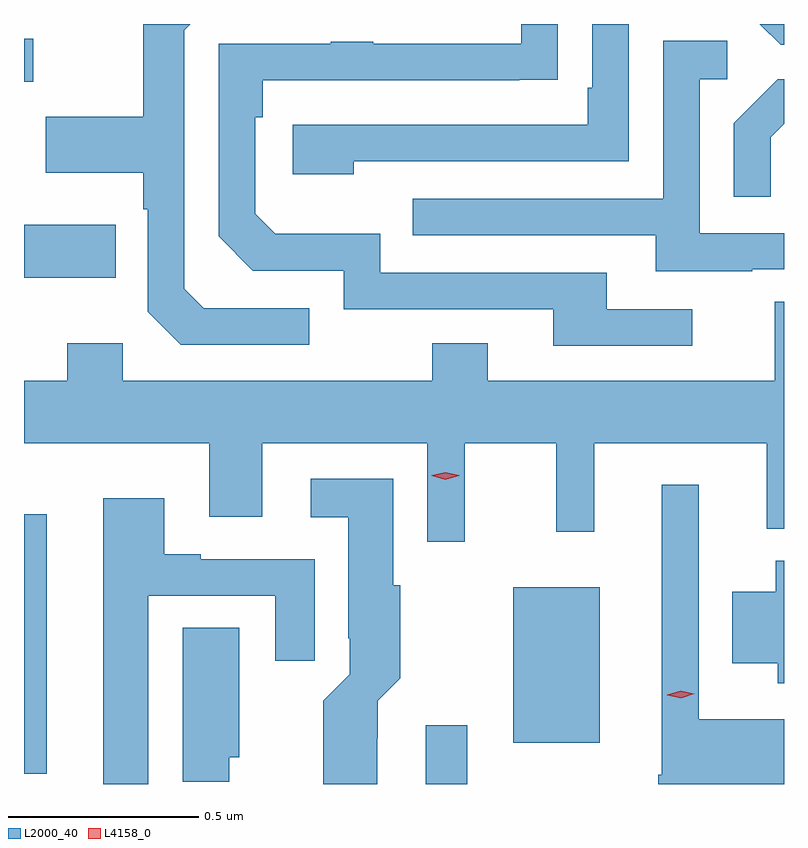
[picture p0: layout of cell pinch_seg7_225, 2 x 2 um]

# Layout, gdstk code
import gdstk
lib = gdstk.Library(unit=1e-6, precision=1e-09)
def R(c, l, rs):  # rectangles x0, y0, x1, y1
    for r in rs: c.add(gdstk.rectangle(r[:2], r[2:], *l))
def P(c, l, *ps):  # polygons
    for p in ps: c.add(gdstk.Polygon(p, *l))
L2000_40 = (2000, 40)
L4158_0 = (4158, 0)

pinch_seg7_225 = lib.new_cell('pinch_seg7_225')
R(pinch_seg7_225, L2000_40, [(683.927,1002.383,684.037,1002.538), (682.87,1002.41,682.93,1003.093), (684.158,1002.491,684.385,1002.901), (682.87,1003.715,683.111,1003.855), (682.87,1004.231,682.894,1004.344)])
P(pinch_seg7_225, L2000_40, [(684.628,1003.632),(684.403,1003.632),(684.403,1003.728),(683.808,1003.728),(683.808,1003.831),(683.531,1003.831),(683.478,1003.884),(683.478,1004.138),(683.498,1004.138),(683.498,1004.235),(684.173,1004.235),(684.173,1004.236),(684.275,1004.236),(684.275,1004.383),(684.179,1004.383),(684.179,1004.331),(683.789,1004.331),(683.789,1004.336),(683.677,1004.336),(683.677,1004.331),(683.382,1004.331),(683.382,1003.824),(683.472,1003.734),(683.712,1003.734),(683.712,1003.632),(684.263,1003.632),(684.263,1003.536),(684.628,1003.536)],
  [(683.738,1004.022),(684.462,1004.022),(684.462,1004.383),(684.366,1004.383),(684.366,1004.215),(684.353,1004.215),(684.353,1004.118),(683.577,1004.118),(683.577,1003.988),(683.738,1003.988)],
  [(684.87,1004.383),(684.806,1004.383),(684.861,1004.328),(684.87,1004.328)],
  [(683.62,1003.635),(683.343,1003.635),(683.292,1003.686),(683.292,1004.367),(683.308,1004.383),(683.184,1004.383),(683.184,1004.139),(682.927,1004.139),(682.927,1003.991),(683.184,1003.991),(683.184,1003.895),(683.196,1003.895),(683.196,1003.626),(683.283,1003.539),(683.62,1003.539)],
  [(684.787,1003.737),(684.87,1003.737),(684.87,1003.833),(684.648,1003.833),(684.648,1004.238),(684.721,1004.238),(684.721,1004.339),(684.552,1004.339),(684.552,1003.923),(683.893,1003.923),(683.893,1003.827),(684.533,1003.827),(684.533,1003.733),(684.787,1003.733)],
  [(684.835,1004.085),(684.87,1004.12),(684.87,1004.238),(684.854,1004.238),(684.738,1004.122),(684.738,1003.929),(684.835,1003.929)],
  [(684.03,1003.28),(684.271,1003.28),(684.271,1003.047),(684.371,1003.047),(684.371,1003.28),(684.824,1003.28),(684.824,1003.055),(684.87,1003.055),(684.87,1003.652),(684.845,1003.652),(684.845,1003.444),(684.091,1003.444),(684.091,1003.543),(683.944,1003.543),(683.944,1003.444),(683.13,1003.444),(683.13,1003.543),(682.984,1003.543),(682.984,1003.444),(682.87,1003.444),(682.87,1003.28),(683.357,1003.28),(683.357,1003.086),(683.497,1003.086),(683.497,1003.28),(683.931,1003.28),(683.931,1003.02),(684.03,1003.02)],
  [(683.8,1002.503),(683.801,1002.503),(683.801,1002.602),(683.86,1002.661),(683.86,1002.906),(683.842,1002.906),(683.842,1003.186),(683.625,1003.186),(683.625,1003.085),(683.723,1003.085),(683.723,1002.766),(683.727,1002.766),(683.727,1002.672),(683.657,1002.602),(683.657,1002.5),(683.658,1002.5),(683.658,1002.383),(683.8,1002.383)],
  [(684.87,1002.553),(684.645,1002.553),(684.645,1003.171),(684.548,1003.171),(684.548,1002.408),(684.539,1002.408),(684.539,1002.383),(684.87,1002.383)],
  [(683.197,1002.879),(683.531,1002.879),(683.531,1002.708),(683.635,1002.708),(683.635,1002.975),(683.335,1002.975),(683.335,1002.988),(683.239,1002.988),(683.239,1003.135),(683.078,1003.135),(683.078,1002.383),(683.197,1002.383)],
  [(684.87,1002.97),(684.848,1002.97),(684.848,1002.889),(684.734,1002.889),(684.734,1002.701),(684.854,1002.701),(684.854,1002.648),(684.87,1002.648)],
  [(683.41,1002.453),(683.437,1002.453),(683.437,1002.794),(683.288,1002.794),(683.288,1002.389),(683.41,1002.389)])
P(pinch_seg7_225, L4158_0, [(684.599,1002.609),(684.563,1002.617),(684.563,1002.617),(684.563,1002.618),(684.598,1002.629),(684.634,1002.62),(684.635,1002.62),(684.634,1002.62)],
  [(683.979,1003.184),(683.943,1003.194),(683.943,1003.194),(683.943,1003.195),(683.979,1003.204),(684.015,1003.195),(684.016,1003.194),(684.015,1003.194)])

lib.write_gds('pinch_seg7_225.gds')
